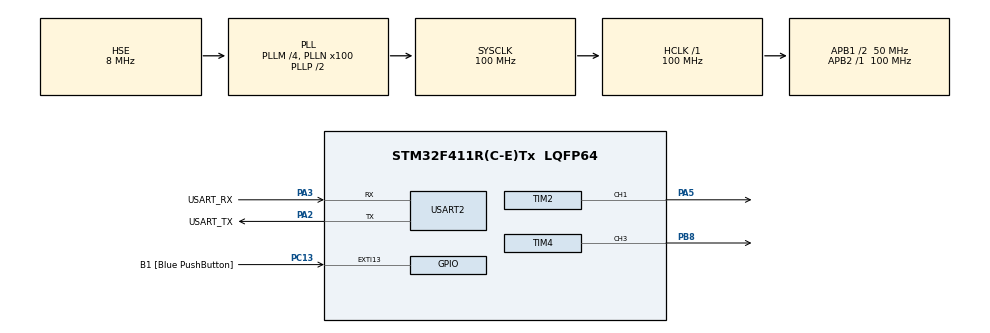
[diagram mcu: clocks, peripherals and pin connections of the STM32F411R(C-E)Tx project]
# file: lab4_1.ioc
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Mcu.Family=STM32F4
Mcu.Name=STM32F411R(C-E)Tx
Mcu.Package=LQFP64
NVIC.PriorityGroup=NVIC_PRIORITYGROUP_0
NVIC.TIM2_IRQn=true\:0\:0\:false\:false\:true\:true\:true\:true
NVIC.TIM4_IRQn=true\:0\:0\:false\:false\:true\:true\:true\:true
PA13.GPIO_Label=TMS
PA13.Mode=Serial_Wire
PA13.Signal=SYS_JTMS-SWDIO
PA14.GPIO_Label=TCK
PA14.Mode=Serial_Wire
PA14.Signal=SYS_JTCK-SWCLK
PA2.GPIO_Label=USART_TX
PA2.Mode=Asynchronous
PA2.Signal=USART2_TX
PA3.GPIO_Label=USART_RX
PA3.Mode=Asynchronous
PA3.Signal=USART2_RX
PA5.Signal=S_TIM2_CH1_ETR
PB3.GPIO_Label=SWO
PB3.Signal=SYS_JTDO-SWO
PB8.Signal=S_TIM4_CH3
PC13-ANTI_TAMP.GPIO_Label=B1 [Blue PushButton]
PC13-ANTI_TAMP.GPIO_ModeDefaultEXTI=GPIO_MODE_IT_FALLING
PC13-ANTI_TAMP.Signal=GPXTI13
PC14-OSC32_IN.Mode=LSE-External-Oscillator
PC14-OSC32_IN.Signal=RCC_OSC32_IN
PC15-OSC32_OUT.Mode=LSE-External-Oscillator
PC15-OSC32_OUT.Signal=RCC_OSC32_OUT
PH0\ -\ OSC_IN.Mode=HSE-External-Clock-Source
PH0\ -\ OSC_IN.Signal=RCC_OSC_IN
PH1\ -\ OSC_OUT.Mode=HSE-External-Clock-Source
PH1\ -\ OSC_OUT.Signal=RCC_OSC_OUT
ProjectManager.HeapSize=0x200
ProjectManager.StackSize=0x400
ProjectManager.TargetToolchain=STM32CubeIDE
RCC.48MHZClocksFreq_Value=50000000
RCC.AHBFreq_Value=100000000
RCC.APB1CLKDivider=RCC_HCLK_DIV2
RCC.APB1Freq_Value=50000000
RCC.APB1TimFreq_Value=100000000
RCC.APB2Freq_Value=100000000
RCC.APB2TimFreq_Value=100000000
RCC.CortexFreq_Value=100000000
RCC.FLatency-AdvancedSettings=FLASH_LATENCY_3
RCC.HCLKFreq_Value=100000000
RCC.HSE_VALUE=8000000
RCC.HSI_VALUE=16000000
RCC.PLLM=4
RCC.PLLN=100
RCC.PLLSourceVirtual=RCC_PLLSOURCE_HSE
RCC.SYSCLKFreq_VALUE=100000000
RCC.SYSCLKSource=RCC_SYSCLKSOURCE_PLLCLK
RCC.VCOOutputFreq_Value=200000000
SH.S_TIM2_CH1_ETR.0=TIM2_CH1,PWM Generation1 CH1
SH.S_TIM4_CH3.0=TIM4_CH3,PWM Generation3 CH3
TIM2.AutoReloadPreload=TIM_AUTORELOAD_PRELOAD_ENABLE
TIM2.Channel-PWM\ Generation1\ CH1=TIM_CHANNEL_1
TIM2.CounterMode=TIM_COUNTERMODE_DOWN
TIM2.Period=9999
TIM2.Pulse-PWM\ Generation1\ CH1=2500
TIM4.AutoReloadPreload=TIM_AUTORELOAD_PRELOAD_ENABLE
TIM4.Channel-PWM\ Generation3\ CH3=TIM_CHANNEL_3
TIM4.CounterMode=TIM_COUNTERMODE_DOWN
TIM4.Period=62499
TIM4.Prescaler=15
TIM4.Pulse-PWM\ Generation3\ CH3=32768
USART2.VirtualMode=VM_ASYNC
VP_TIM2_VS_ClockSourceINT.Mode=Internal
board=NUCLEO-F411RE

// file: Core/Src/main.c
/* USER CODE BEGIN Header */
/**
  ******************************************************************************
  * @file           : main.c
  * @brief          : Main program body
  ******************************************************************************
  * @attention
  *
  * Copyright (c) 2023 STMicroelectronics.
  * All rights reserved.
  *
  * This software is licensed under terms that can be found in the LICENSE file
  * in the root directory of this software component.
  * If no LICENSE file comes with this software, it is provided AS-IS.
  *
  ******************************************************************************
  */
/* USER CODE END Header */
#include "main.h"

/* USER CODE BEGIN PTD */
enum count_direction {
    COUNT_UP = 0,
    COUNT_DOWN = 1
};

typedef volatile struct {
    uint32_t duty_cycle;
    enum count_direction direction;
} pwm_t;
/* USER CODE END PTD */

TIM_HandleTypeDef htim2;
TIM_HandleTypeDef htim4;

UART_HandleTypeDef huart2;

/* USER CODE BEGIN PV */
pwm_t pwm_led = {50, COUNT_UP};
/* USER CODE END PV */

void SystemClock_Config(void);

static void MX_GPIO_Init(void);

static void MX_TIM2_Init(void);

static void MX_USART2_UART_Init(void);

static void MX_TIM4_Init(void);

int main(void) {

    /* MCU Configuration--------------------------------------------------------*/

    /* Reset of all peripherals, Initializes the Flash interface and the Systick. */
    HAL_Init();

    /* Configure the system clock */
    SystemClock_Config();

    /* Initialize all configured peripherals */
    MX_GPIO_Init();
    MX_TIM2_Init();
    MX_USART2_UART_Init();
    MX_TIM4_Init();
    /* USER CODE BEGIN 2 */
    HAL_TIM_PWM_Start_IT(&htim4, TIM_CHANNEL_3);
    HAL_TIM_PWM_Start_IT(&htim2, TIM_CHANNEL_1);
    /* USER CODE END 2 */

    /* Infinite loop */
    while (1) {

    }
}

void SystemClock_Config(void) {
    RCC_OscInitTypeDef RCC_OscInitStruct = {0};
    RCC_ClkInitTypeDef RCC_ClkInitStruct = {0};

    /** Configure the main internal regulator output voltage
    */
    __HAL_RCC_PWR_CLK_ENABLE();
    __HAL_PWR_VOLTAGESCALING_CONFIG(PWR_REGULATOR_VOLTAGE_SCALE1);

    /** Initializes the RCC Oscillators according to the specified parameters
    * in the RCC_OscInitTypeDef structure.
    */
    RCC_OscInitStruct.OscillatorType = RCC_OSCILLATORTYPE_HSE;
    RCC_OscInitStruct.HSEState = RCC_HSE_BYPASS;
    RCC_OscInitStruct.PLL.PLLState = RCC_PLL_ON;
    RCC_OscInitStruct.PLL.PLLSource = RCC_PLLSOURCE_HSE;
    RCC_OscInitStruct.PLL.PLLM = 4;
    RCC_OscInitStruct.PLL.PLLN = 100;
    RCC_OscInitStruct.PLL.PLLP = RCC_PLLP_DIV2;
    RCC_OscInitStruct.PLL.PLLQ = 4;
    if (HAL_RCC_OscConfig(&RCC_OscInitStruct) != HAL_OK) {
        Error_Handler();
    }

    /** Initializes the CPU, AHB and APB buses clocks
    */
    RCC_ClkInitStruct.ClockType = RCC_CLOCKTYPE_HCLK | RCC_CLOCKTYPE_SYSCLK
                                  | RCC_CLOCKTYPE_PCLK1 | RCC_CLOCKTYPE_PCLK2;
    RCC_ClkInitStruct.SYSCLKSource = RCC_SYSCLKSOURCE_PLLCLK;
    RCC_ClkInitStruct.AHBCLKDivider = RCC_SYSCLK_DIV1;
    RCC_ClkInitStruct.APB1CLKDivider = RCC_HCLK_DIV2;
    RCC_ClkInitStruct.APB2CLKDivider = RCC_HCLK_DIV1;

    if (HAL_RCC_ClockConfig(&RCC_ClkInitStruct, FLASH_LATENCY_3) != HAL_OK) {
        Error_Handler();
    }
}

static void MX_TIM2_Init(void) {

    TIM_ClockConfigTypeDef sClockSourceConfig = {0};
    TIM_MasterConfigTypeDef sMasterConfig = {0};
    TIM_OC_InitTypeDef sConfigOC = {0};

    htim2.Instance = TIM2;
    htim2.Init.Prescaler = 0;
    htim2.Init.CounterMode = TIM_COUNTERMODE_DOWN;
    htim2.Init.Period = 9999;
    htim2.Init.ClockDivision = TIM_CLOCKDIVISION_DIV1;
    htim2.Init.AutoReloadPreload = TIM_AUTORELOAD_PRELOAD_ENABLE;
    if (HAL_TIM_Base_Init(&htim2) != HAL_OK) {
        Error_Handler();
    }
    sClockSourceConfig.ClockSource = TIM_CLOCKSOURCE_INTERNAL;
    if (HAL_TIM_ConfigClockSource(&htim2, &sClockSourceConfig) != HAL_OK) {
        Error_Handler();
    }
    if (HAL_TIM_PWM_Init(&htim2) != HAL_OK) {
        Error_Handler();
    }
    sMasterConfig.MasterOutputTrigger = TIM_TRGO_RESET;
    sMasterConfig.MasterSlaveMode = TIM_MASTERSLAVEMODE_DISABLE;
    if (HAL_TIMEx_MasterConfigSynchronization(&htim2, &sMasterConfig) != HAL_OK) {
        Error_Handler();
    }
    sConfigOC.OCMode = TIM_OCMODE_PWM1;
    sConfigOC.Pulse = 2500;
    sConfigOC.OCPolarity = TIM_OCPOLARITY_HIGH;
    sConfigOC.OCFastMode = TIM_OCFAST_DISABLE;
    if (HAL_TIM_PWM_ConfigChannel(&htim2, &sConfigOC, TIM_CHANNEL_1) != HAL_OK) {
        Error_Handler();
    }
    HAL_TIM_MspPostInit(&htim2);

}

static void MX_TIM4_Init(void) {

    TIM_MasterConfigTypeDef sMasterConfig = {0};
    TIM_OC_InitTypeDef sConfigOC = {0};

    htim4.Instance = TIM4;
    htim4.Init.Prescaler = 15;
    htim4.Init.CounterMode = TIM_COUNTERMODE_DOWN;
    htim4.Init.Period = 62499;
    htim4.Init.ClockDivision = TIM_CLOCKDIVISION_DIV1;
    htim4.Init.AutoReloadPreload = TIM_AUTORELOAD_PRELOAD_ENABLE;
    if (HAL_TIM_PWM_Init(&htim4) != HAL_OK) {
        Error_Handler();
    }
    sMasterConfig.MasterOutputTrigger = TIM_TRGO_RESET;
    sMasterConfig.MasterSlaveMode = TIM_MASTERSLAVEMODE_DISABLE;
    if (HAL_TIMEx_MasterConfigSynchronization(&htim4, &sMasterConfig) != HAL_OK) {
        Error_Handler();
    }
    sConfigOC.OCMode = TIM_OCMODE_PWM1;
    sConfigOC.Pulse = 32768;
    sConfigOC.OCPolarity = TIM_OCPOLARITY_HIGH;
    sConfigOC.OCFastMode = TIM_OCFAST_DISABLE;
    if (HAL_TIM_PWM_ConfigChannel(&htim4, &sConfigOC, TIM_CHANNEL_3) != HAL_OK) {
        Error_Handler();
    }
    HAL_TIM_MspPostInit(&htim4);

}

static void MX_USART2_UART_Init(void) {

    huart2.Instance = USART2;
    huart2.Init.BaudRate = 115200;
    huart2.Init.WordLength = UART_WORDLENGTH_8B;
    huart2.Init.StopBits = UART_STOPBITS_1;
    huart2.Init.Parity = UART_PARITY_NONE;
    huart2.Init.Mode = UART_MODE_TX_RX;
    huart2.Init.HwFlowCtl = UART_HWCONTROL_NONE;
    huart2.Init.OverSampling = UART_OVERSAMPLING_16;
    if (HAL_UART_Init(&huart2) != HAL_OK) {
        Error_Handler();
    }

}

static void MX_GPIO_Init(void) {
    GPIO_InitTypeDef GPIO_InitStruct = {0};

    /* GPIO Ports Clock Enable */
    __HAL_RCC_GPIOC_CLK_ENABLE();
    __HAL_RCC_GPIOH_CLK_ENABLE();
    __HAL_RCC_GPIOA_CLK_ENABLE();
    __HAL_RCC_GPIOB_CLK_ENABLE();

    /*Configure GPIO pin : B1_Pin */
    GPIO_InitStruct.Pin = B1_Pin;
    GPIO_InitStruct.Mode = GPIO_MODE_IT_FALLING;
    GPIO_InitStruct.Pull = GPIO_NOPULL;
    HAL_GPIO_Init(B1_GPIO_Port, &GPIO_InitStruct);

}

/* USER CODE BEGIN 4 */
void HAL_TIM_PWM_PulseFinishedCallback(TIM_HandleTypeDef *htim) {
    if (htim->Instance != TIM4)
        return;

    if (pwm_led.duty_cycle > 99)
        pwm_led.direction = COUNT_DOWN;
    else if (pwm_led.duty_cycle < 1)
        pwm_led.direction = COUNT_UP;

    switch (pwm_led.direction) {
        case COUNT_UP :
            ++pwm_led.duty_cycle;
            break;
        case COUNT_DOWN:
            --pwm_led.duty_cycle;
            break;
        default:
            break;
    }

    TIM2->CCR1 = (uint32_t) (TIM2->ARR * pwm_led.duty_cycle * 0.01);
}
/* USER CODE END 4 */

void Error_Handler(void) {
    __disable_irq();
    while (1) {
    }
}
